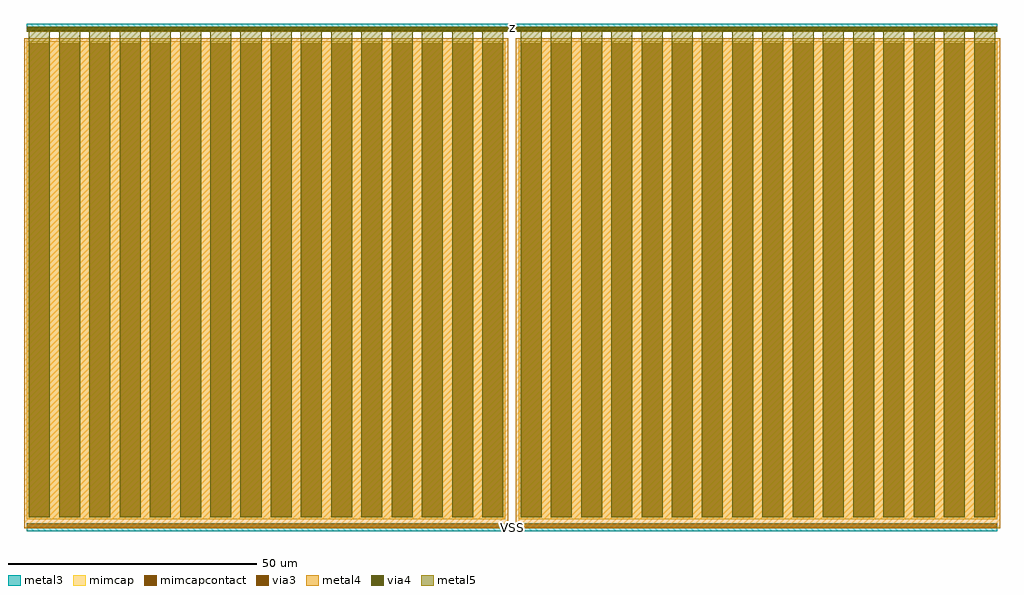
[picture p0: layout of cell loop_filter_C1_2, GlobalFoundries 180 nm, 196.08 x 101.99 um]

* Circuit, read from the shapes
.subckt loop_filter_C1_2 z VSS
XC1 z VSS cap_mim_2f0fF c_width=96.09u c_length=96.09u m=2
.ends

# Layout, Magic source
magic
tech gf180mcuD
magscale 1 10
<< metal3 >>
rect 0 -340 19218 -160
rect 19758 -340 38976 -160
rect 0 19598 38976 19798
rect 0 19598 38976 19918
rect 0 19598 38976 19918
rect 0 -480 38976 -160
rect 0 -480 38976 -160
<< metal4 >>
rect -120 -360 19338 19338
rect 0 -340 19218 -160
rect 19638 -360 39096 19338
rect 19758 -340 38976 -160
rect 0 19598 38976 19798
rect 0 19598 38976 19798
<< mimcap >>
rect 0 0 19218 19218
rect 19758 0 38976 19218
<< metal5 >>
rect 78 78 922 19698
rect 1292 78 2136 19698
rect 2507 78 3351 19698
rect 3721 78 4565 19698
rect 4936 78 5780 19698
rect 6150 78 6994 19698
rect 7364 78 8208 19698
rect 8579 78 9423 19698
rect 9793 78 10637 19698
rect 11008 78 11852 19698
rect 12222 78 13066 19698
rect 13436 78 14280 19698
rect 14651 78 15495 19698
rect 15865 78 16709 19698
rect 17080 78 17924 19698
rect 18294 78 19138 19698
rect 19836 78 20680 19698
rect 21050 78 21894 19698
rect 22265 78 23109 19698
rect 23479 78 24323 19698
rect 24694 78 25538 19698
rect 25908 78 26752 19698
rect 27122 78 27966 19698
rect 28337 78 29181 19698
rect 29551 78 30395 19698
rect 30766 78 31610 19698
rect 31980 78 32824 19698
rect 33194 78 34038 19698
rect 34409 78 35253 19698
rect 35623 78 36467 19698
rect 36838 78 37682 19698
rect 38052 78 38896 19698
rect 0 19598 38976 19798
rect 0 19598 38976 19798
<< via3 >>
rect 10 -330 19208 -170
rect 19768 -330 38966 -170
rect 10 19608 38966 19788
<< via4 >>
rect 10 19608 38966 19788
<< mimcapcontact >>
rect 78 78 922 19140
rect 1292 78 2136 19140
rect 2507 78 3351 19140
rect 3721 78 4565 19140
rect 4936 78 5780 19140
rect 6150 78 6994 19140
rect 7364 78 8208 19140
rect 8579 78 9423 19140
rect 9793 78 10637 19140
rect 11008 78 11852 19140
rect 12222 78 13066 19140
rect 13436 78 14280 19140
rect 14651 78 15495 19140
rect 15865 78 16709 19140
rect 17080 78 17924 19140
rect 18294 78 19138 19140
rect 19836 78 20680 19140
rect 21050 78 21894 19140
rect 22265 78 23109 19140
rect 23479 78 24323 19140
rect 24694 78 25538 19140
rect 25908 78 26752 19140
rect 27122 78 27966 19140
rect 28337 78 29181 19140
rect 29551 78 30395 19140
rect 30766 78 31610 19140
rect 31980 78 32824 19140
rect 33194 78 34038 19140
rect 34409 78 35253 19140
rect 35623 78 36467 19140
rect 36838 78 37682 19140
rect 38052 78 38896 19140
<< labels >>
flabel metal3 s 0 19598 38976 19918 0 FreeSans 80 0 0 0 z
port 1 nsew signal bidirectional
flabel metal3 s 0 -480 38976 -160 0 FreeSans 80 0 0 0 VSS
port 2 nsew signal bidirectional
<< end >>
